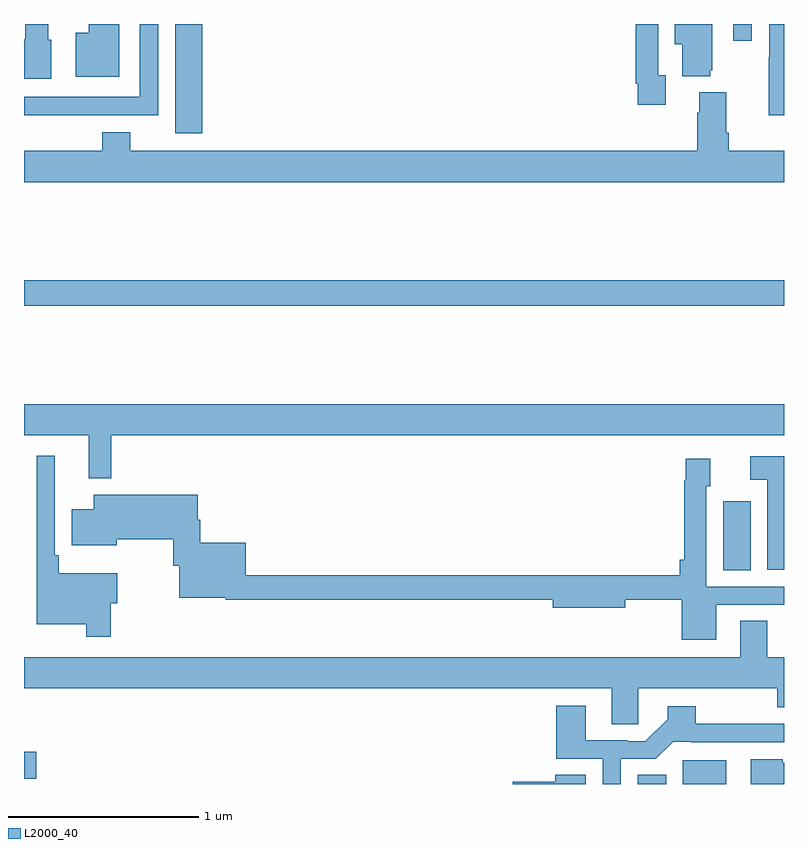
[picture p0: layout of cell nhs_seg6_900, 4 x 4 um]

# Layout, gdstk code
import gdstk
lib = gdstk.Library(unit=1e-6, precision=1e-09)
def R(c, l, rs):  # rectangles x0, y0, x1, y1
    for r in rs: c.add(gdstk.rectangle(r[:2], r[2:], *l))
def P(c, l, *ps):  # polygons
    for p in ps: c.add(gdstk.Polygon(p, *l))
L2000_40 = (2000, 40)

nhs_seg6_900 = lib.new_cell('nhs_seg6_900')
R(nhs_seg6_900, L2000_40, [(170.231,945.5,170.38,945.548), (170.468,945.5,170.695,945.625), (167,945.527,167.065,945.669), (170.681,946.624,170.824,946.987), (167,948.016,171,948.152), (167.795,948.924,167.939,949.5), (170.733,949.413,170.829,949.5)])
P(nhs_seg6_900, L2000_40, [(167.5,949.5),(167.342,949.5),(167.342,949.453),(167.273,949.453),(167.273,949.223),(167.5,949.223)],
  [(167.143,949.416),(167.128,949.416),(167.128,949.5),(167.006,949.5),(167.006,949.42),(167,949.42),(167,949.211),(167.143,949.211)],
  [(170.612,949.257),(170.623,949.257),(170.623,949.5),(170.426,949.5),(170.426,949.394),(170.465,949.394),(170.465,949.226),(170.612,949.226)],
  [(167.324,949.02),(167.706,949.02),(167.706,949.5),(167.61,949.5),(167.61,949.116),(167,949.116),(167,949.019),(167.324,949.019)],
  [(170.377,949.23),(170.337,949.23),(170.337,949.5),(170.221,949.5),(170.221,949.186),(170.229,949.186),(170.229,949.074),(170.377,949.074)],
  [(171,949.5),(170.922,949.5),(170.922,949.325),(170.92,949.325),(170.92,949.019),(171,949.019)],
  [(171,948.832),(170.708,948.832),(170.708,948.928),(170.695,948.928),(170.695,949.141),(170.555,949.141),(170.555,949.034),(170.543,949.034),(170.543,948.832),(167.56,948.832),(167.56,948.931),(167.413,948.931),(167.413,948.832),(167,948.832),(167,948.668),(171,948.668)],
  [(167.459,947.336),(171,947.336),(171,947.5),(167,947.5),(167,947.336),(167.342,947.336),(167.342,947.108),(167.459,947.108)],
  [(167.456,946.451),(167.491,946.451),(167.491,946.609),(167.183,946.609),(167.183,946.705),(167.163,946.705),(167.163,947.227),(167.066,947.227),(167.066,946.34),(167.328,946.34),(167.328,946.275),(167.456,946.275)],
  [(171,947.224),(170.823,947.224),(170.823,947.102),(170.912,947.102),(170.912,946.628),(171,946.628)],
  [(170.644,946.443),(171,946.443),(171,946.539),(170.592,946.539),(170.592,947.067),(170.611,947.067),(170.611,947.212),(170.484,947.212),(170.484,947.099),(170.476,947.099),(170.476,946.681),(170.45,946.681),(170.45,946.598),(168.166,946.598),(168.166,946.771),(167.927,946.771),(167.927,946.891),(167.914,946.891),(167.914,947.023),(167.366,947.023),(167.366,946.945),(167.252,946.945),(167.252,946.757),(167.488,946.757),(167.488,946.787),(167.786,946.787),(167.786,946.649),(167.816,946.649),(167.816,946.481),(168.062,946.481),(168.062,946.47),(169.784,946.47),(169.784,946.427),(170.164,946.427),(170.164,946.47),(170.462,946.47),(170.462,946.259),(170.644,946.259)],
  [(170.232,946.004),(170.965,946.004),(170.965,945.905),(171,945.905),(171,946.168),(170.911,946.168),(170.911,946.358),(170.771,946.358),(170.771,946.168),(167,946.168),(167,946.004),(170.093,946.004),(170.093,945.814),(170.232,945.814)],
  [(170.142,945.633),(170.326,945.633),(170.416,945.723),(170.512,945.723),(170.512,945.72),(171,945.72),(171,945.816),(170.876,945.816),(170.876,945.818),(170.535,945.818),(170.535,945.91),(170.387,945.91),(170.387,945.842),(170.271,945.726),(170.177,945.726),(170.177,945.729),(169.957,945.729),(169.957,945.913),(169.802,945.913),(169.802,945.633),(170.046,945.633),(170.046,945.5),(170.142,945.5)],
  [(171,945.613),(170.994,945.613),(170.994,945.631),(170.825,945.631),(170.825,945.5),(171,945.5)],
  [(169.957,945.548),(169.796,945.548),(169.796,945.512),(169.572,945.512),(169.572,945.5),(169.957,945.5)])

lib.write_gds('nhs_seg6_900.gds')
